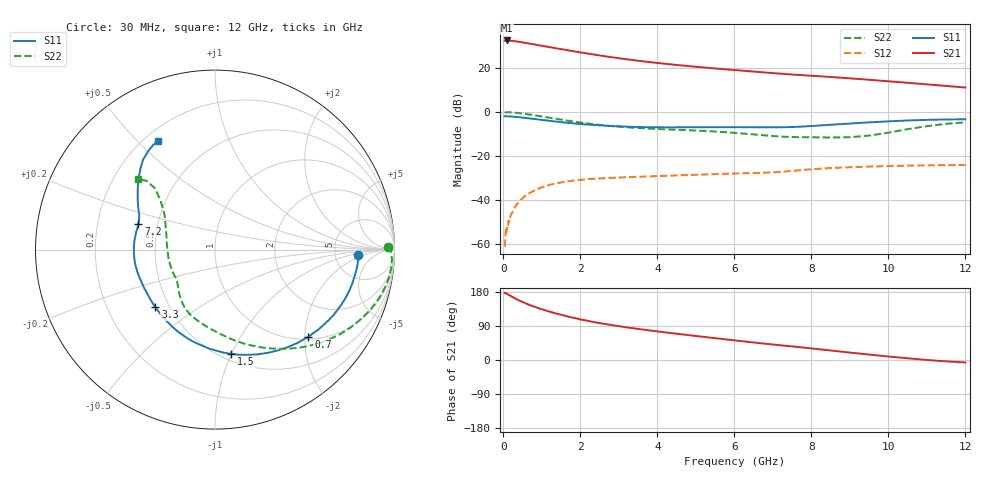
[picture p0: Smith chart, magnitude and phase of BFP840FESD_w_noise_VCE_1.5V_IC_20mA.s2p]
! Infineon Technologies  Discrete & RF Semiconductors
! BFP840FESD
! VCE =  1.5 V,  IC =  20 mA
! Common Emitter S-Parameters:  May 2012
# GHz  S  MA  R  50
!  f  S11  S21  S12  S22
! GHz  MAG  ANG  MAG  ANG  MAG  ANG  MAG  ANG
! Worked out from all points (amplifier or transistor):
!   103 points, 30 MHz to 12 GHz, reference 50 ohm
!   highest |S21| = 32.5 dB at 80 MHz (marker M1)
!   |S21| within 3 dB of that: start of sweep to 1.188 GHz
!   unconditionally stable (mu >= 1): 5.831 GHz to end of sweep
!   at 400 MHz: K = 0.13, MSG = 36.4 dB, |S12| = -40.9 dB
!   at 3.7 GHz: K = 0.73, MSG = 26.1 dB, |S12| = -29.3 dB
!   at 12 GHz: K = 1.11, MAG = 15.6 dB, |S12| = -24.1 dB
!   lowest NFmin = 0.89 dB at 450 MHz
!   S11 on the Smith chart (normalised r, x): 30 MHz: 8.71, -1.34; 700 MHz: 1.06, -2.08; 1.5 GHz: 0.56, -1.00; 3.3 GHz: 0.42, -0.34; 7.2 GHz: 0.39, +0.14; 12 GHz: 0.25, +0.58
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0.03  0.7983 -2.0  41.51 176.7  0.0009 78.1  0.9632 1.0
0.04  0.798 -2.7  41.66 176.2  0.0009 90.6  0.9711 0.3
0.05  0.7976 -3.3  41.82 177.1  0.0015 106.6  0.9776 -0.3
0.08  0.7988 -5.4  42.08 175.3  0.0019 90.1  0.985 -2.3
0.25  0.7834 -16.7  40.99 165.4  0.0055 81.6  0.9744 -11.4
0.35  0.7691 -23.1  39.84 159.9  0.0081 78.1  0.9555 -16.1
0.5  0.7453 -31.9  37.97 152.8  0.0112 73.8  0.9204 -22.4
0.7  0.7115 -43.0  35.38 144.5  0.0148 67.2  0.8696 -30.1
1  0.6612 -58.4  31.82 133.8  0.0196 60.1  0.7915 -40.4
1.3  0.615 -72.4  28.65 124.6  0.0233 53.8  0.7175 -49.7
1.5  0.5877 -81.1  26.73 119.3  0.0252 50.4  0.6718 -55.4
1.8  0.5534 -93.1  24.1 111.7  0.0276 45.6  0.6118 -63.4
2.1  0.5256 -103.8  21.84 105.1  0.0293 42.2  0.5622 -70.6
2.6  0.4914 -118.8  18.63 95.7  0.0314 38.1  0.4996 -80.9
3.3  0.462 -135.9  15.33 84.8  0.0333 35.1  0.4437 -92.7
4.1  0.4489 -151.7  12.71 74.2  0.0353 33.8  0.4085 -103.4
5  0.4504 -166.1  10.64 63.3  0.0377 33.4  0.3786 -113.4
6.1  0.4516 178.4  8.827 50.7  0.0404 33.2  0.331 -125.5
7.2  0.4506 161.2  7.407 38.8  0.0438 36.2  0.2774 -139.4
8.5  0.5133 147.1  6.235 25.1  0.0534 34.0  0.2641 -167.6
10.5  0.6424 128.5  4.601 4.6  0.0606 26.7  0.4078 138.0
12  0.6839 117.5  3.591 -6.6  0.0624 24.1  0.5828 137.7
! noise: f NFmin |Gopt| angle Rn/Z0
0.45  0.89  0.1  3  0.13
0.9  0.92  0.1  10  0.14
1.5  0.93  0.09  16  0.13
1.9  0.94  0.08  31  0.13
2.4  0.94  0.08  51  0.14
3.5  0.94  0.08  87  0.14
5.5  1  0.08  160  0.12
8  1.1  0.11  -155  0.14
10  1.2  0.28  -116  0.17
12  1.39  0.44  -101  0.2
